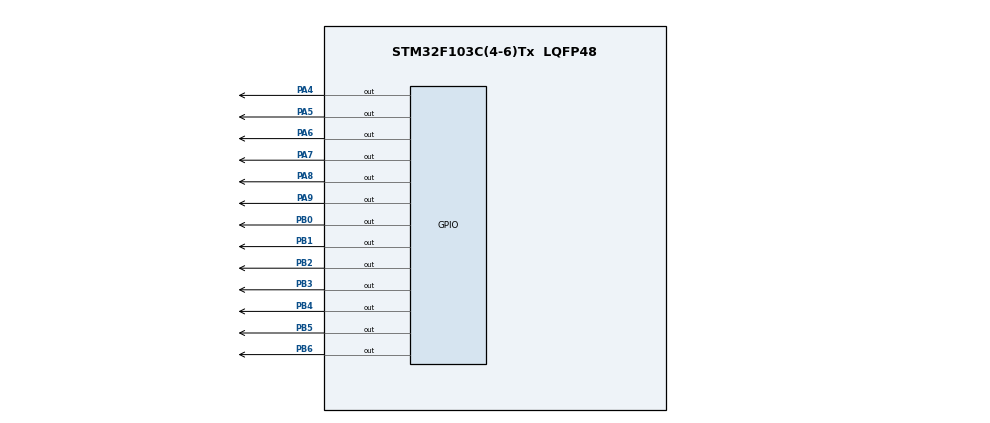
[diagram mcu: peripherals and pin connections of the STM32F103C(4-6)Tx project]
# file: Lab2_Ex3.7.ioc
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Mcu.Family=STM32F1
Mcu.Name=STM32F103C(4-6)Tx
Mcu.Package=LQFP48
NVIC.PriorityGroup=NVIC_PRIORITYGROUP_4
NVIC.TIM2_IRQn=true\:0\:0\:false\:false\:true\:true\:true
PA4.Signal=GPIO_Output
PA5.Signal=GPIO_Output
PA6.Signal=GPIO_Output
PA7.Signal=GPIO_Output
PA8.Signal=GPIO_Output
PA9.Signal=GPIO_Output
PB0.Signal=GPIO_Output
PB1.Signal=GPIO_Output
PB2.Signal=GPIO_Output
PB3.Signal=GPIO_Output
PB4.Signal=GPIO_Output
PB5.Signal=GPIO_Output
PB6.Signal=GPIO_Output
PD0-OSC_IN.Mode=HSE-External-Oscillator
PD0-OSC_IN.Signal=RCC_OSC_IN
PD1-OSC_OUT.Mode=HSE-External-Oscillator
PD1-OSC_OUT.Signal=RCC_OSC_OUT
ProjectManager.HeapSize=0x200
ProjectManager.StackSize=0x400
ProjectManager.TargetToolchain=STM32CubeIDE
RCC.APB1Freq_Value=8000000
RCC.APB2Freq_Value=8000000
TIM2.Period=9
TIM2.Prescaler=7999
VP_SYS_VS_ND.Mode=No_Debug
VP_TIM2_VS_ClockSourceINT.Mode=Internal
board=custom

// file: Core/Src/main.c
/* USER CODE BEGIN Header */
/**
  ******************************************************************************
  * @file           : main.c
  * @brief          : Main program body
  ******************************************************************************
  * @attention
  *
  * <h2><center>&copy; Copyright (c) 2021 STMicroelectronics.
  * All rights reserved.</center></h2>
  *
  * This software component is licensed by ST under BSD 3-Clause license,
  * the "License"; You may not use this file except in compliance with the
  * License. You may obtain a copy of the License at:
  *                        opensource.org/licenses/BSD-3-Clause
  *
  ******************************************************************************
  */
/* USER CODE END Header */
#include "main.h"

TIM_HandleTypeDef htim2;

void SystemClock_Config(void);
static void MX_GPIO_Init(void);
static void MX_TIM2_Init(void);

/* USER CODE BEGIN 0 */
uint8_t nums[10] = {0x01, 0x4F, 0x12, 0x06, 0x4C, 0x24, 0x20, 0x0F, 0x00, 0x04};

void display7SEG(uint8_t num) {
	HAL_GPIO_WritePin(GPIOB, GPIO_PIN_0, num & 0x40);
	HAL_GPIO_WritePin(GPIOB, GPIO_PIN_1, num & 0x20);
	HAL_GPIO_WritePin(GPIOB, GPIO_PIN_2, num & 0x10);
	HAL_GPIO_WritePin(GPIOB, GPIO_PIN_3, num & 0x08);
	HAL_GPIO_WritePin(GPIOB, GPIO_PIN_4, num & 0x04);
	HAL_GPIO_WritePin(GPIOB, GPIO_PIN_5, num & 0x02);
	HAL_GPIO_WritePin(GPIOB, GPIO_PIN_6, num & 0x01);
}

int led_buffer[4] = {0,0,0,0};
void updateClockBuffer()
{
	if(led_buffer[3] > 9){
		led_buffer[3] = 0;
		led_buffer[2]++;
	}
	if(led_buffer[2] > 5){
		led_buffer[2] = 0;
		led_buffer[1]++;
	}
	if(led_buffer[1] > 9){
		led_buffer[1] = 0;
		led_buffer[0]++;
	}
	if(led_buffer[0] > 3){
		led_buffer[0] = 0;
	}

	for(int i = 0; i < 400; i++){
		if(i == 0) {
			HAL_GPIO_WritePin(GPIOA, GPIO_PIN_5, GPIO_PIN_RESET);
			HAL_GPIO_WritePin(GPIOA, GPIO_PIN_6, GPIO_PIN_RESET);
			HAL_GPIO_WritePin(GPIOA, GPIO_PIN_7, GPIO_PIN_SET);
			HAL_GPIO_WritePin(GPIOA, GPIO_PIN_8, GPIO_PIN_SET);
			HAL_GPIO_WritePin(GPIOA, GPIO_PIN_9, GPIO_PIN_SET);
			display7SEG(nums[led_buffer[0]]);
			HAL_Delay(100);

		}
		else if(i == 100) {
			HAL_GPIO_WritePin(GPIOA, GPIO_PIN_5, GPIO_PIN_SET);
			HAL_GPIO_WritePin(GPIOA, GPIO_PIN_6, GPIO_PIN_SET);
			HAL_GPIO_WritePin(GPIOA, GPIO_PIN_7, GPIO_PIN_RESET);
			HAL_GPIO_WritePin(GPIOA, GPIO_PIN_8, GPIO_PIN_SET);
			HAL_GPIO_WritePin(GPIOA, GPIO_PIN_9, GPIO_PIN_SET);
			display7SEG(nums[led_buffer[1]]);
			HAL_Delay(100);
		}
		else if(i == 200) {
			HAL_GPIO_WritePin(GPIOA, GPIO_PIN_5, GPIO_PIN_RESET);
			HAL_GPIO_WritePin(GPIOA, GPIO_PIN_6, GPIO_PIN_SET);
			HAL_GPIO_WritePin(GPIOA, GPIO_PIN_7, GPIO_PIN_SET);
			HAL_GPIO_WritePin(GPIOA, GPIO_PIN_8, GPIO_PIN_RESET);
			HAL_GPIO_WritePin(GPIOA, GPIO_PIN_9, GPIO_PIN_SET);
			display7SEG(nums[led_buffer[2]]);
			HAL_Delay(100);
		}
		else if(i == 300) {
			HAL_GPIO_WritePin(GPIOA, GPIO_PIN_5, GPIO_PIN_SET);
			HAL_GPIO_WritePin(GPIOA, GPIO_PIN_6, GPIO_PIN_SET);
			HAL_GPIO_WritePin(GPIOA, GPIO_PIN_7, GPIO_PIN_SET);
			HAL_GPIO_WritePin(GPIOA, GPIO_PIN_8, GPIO_PIN_SET);
			HAL_GPIO_WritePin(GPIOA, GPIO_PIN_9, GPIO_PIN_RESET);
			display7SEG(nums[led_buffer[3]]);
			HAL_Delay(100);
		}
	}
	led_buffer[3]++;
}

int timer0_counter = 0;
int timer0_flag = 0;
int TIMER_CYCLE = 10;

void setTimer0(int duration) {
	timer0_counter = duration / TIMER_CYCLE ;
	timer0_flag = 0;
}
void timer_run() {
	if(timer0_counter > 0) {
		timer0_counter--;
		if( timer0_counter == 0) timer0_flag = 1;
	}
}
/* USER CODE END 0 */

int main(void)
{

  /* MCU Configuration--------------------------------------------------------*/

  /* Reset of all peripherals, Initializes the Flash interface and the Systick. */
  HAL_Init();

  /* Configure the system clock */
  SystemClock_Config();

  /* Initialize all configured peripherals */
  MX_GPIO_Init();
  MX_TIM2_Init();
  /* USER CODE BEGIN 2 */
  HAL_TIM_Base_Start_IT(&htim2);
  /* USER CODE END 2 */

  /* Infinite loop */
  /* USER CODE BEGIN WHILE */
  int hour = 0 , minute = 0 , second = -1;
  while (1)
  {
    second++;
    if (second >= 60) {
  	  second = 0;
  	  updateClockBuffer();
  	  minute++;
    }
    if( minute >= 60) {
  	  minute = 0;
  	  hour++;
    }
    if(hour >= 24) {
   		 hour = 0;
    }
    if(timer0_flag == 1) {
    	HAL_GPIO_TogglePin(GPIOA, GPIO_PIN_4);
    	setTimer0(2000);
    }
  }
}

void SystemClock_Config(void)
{
  RCC_OscInitTypeDef RCC_OscInitStruct = {0};
  RCC_ClkInitTypeDef RCC_ClkInitStruct = {0};

  /** Initializes the RCC Oscillators according to the specified parameters
  * in the RCC_OscInitTypeDef structure.
  */
  RCC_OscInitStruct.OscillatorType = RCC_OSCILLATORTYPE_HSI;
  RCC_OscInitStruct.HSIState = RCC_HSI_ON;
  RCC_OscInitStruct.HSICalibrationValue = RCC_HSICALIBRATION_DEFAULT;
  RCC_OscInitStruct.PLL.PLLState = RCC_PLL_NONE;
  if (HAL_RCC_OscConfig(&RCC_OscInitStruct) != HAL_OK)
  {
    Error_Handler();
  }
  /** Initializes the CPU, AHB and APB buses clocks
  */
  RCC_ClkInitStruct.ClockType = RCC_CLOCKTYPE_HCLK|RCC_CLOCKTYPE_SYSCLK
                              |RCC_CLOCKTYPE_PCLK1|RCC_CLOCKTYPE_PCLK2;
  RCC_ClkInitStruct.SYSCLKSource = RCC_SYSCLKSOURCE_HSI;
  RCC_ClkInitStruct.AHBCLKDivider = RCC_SYSCLK_DIV1;
  RCC_ClkInitStruct.APB1CLKDivider = RCC_HCLK_DIV1;
  RCC_ClkInitStruct.APB2CLKDivider = RCC_HCLK_DIV1;

  if (HAL_RCC_ClockConfig(&RCC_ClkInitStruct, FLASH_LATENCY_0) != HAL_OK)
  {
    Error_Handler();
  }
}

static void MX_TIM2_Init(void)
{

  TIM_ClockConfigTypeDef sClockSourceConfig = {0};
  TIM_MasterConfigTypeDef sMasterConfig = {0};

  htim2.Instance = TIM2;
  htim2.Init.Prescaler = 7999;
  htim2.Init.CounterMode = TIM_COUNTERMODE_UP;
  htim2.Init.Period = 9;
  htim2.Init.ClockDivision = TIM_CLOCKDIVISION_DIV1;
  htim2.Init.AutoReloadPreload = TIM_AUTORELOAD_PRELOAD_DISABLE;
  if (HAL_TIM_Base_Init(&htim2) != HAL_OK)
  {
    Error_Handler();
  }
  sClockSourceConfig.ClockSource = TIM_CLOCKSOURCE_INTERNAL;
  if (HAL_TIM_ConfigClockSource(&htim2, &sClockSourceConfig) != HAL_OK)
  {
    Error_Handler();
  }
  sMasterConfig.MasterOutputTrigger = TIM_TRGO_RESET;
  sMasterConfig.MasterSlaveMode = TIM_MASTERSLAVEMODE_DISABLE;
  if (HAL_TIMEx_MasterConfigSynchronization(&htim2, &sMasterConfig) != HAL_OK)
  {
    Error_Handler();
  }

}

static void MX_GPIO_Init(void)
{
  GPIO_InitTypeDef GPIO_InitStruct = {0};

  /* GPIO Ports Clock Enable */
  __HAL_RCC_GPIOD_CLK_ENABLE();
  __HAL_RCC_GPIOA_CLK_ENABLE();
  __HAL_RCC_GPIOB_CLK_ENABLE();

  /*Configure GPIO pin Output Level */
  HAL_GPIO_WritePin(GPIOA, GPIO_PIN_4|GPIO_PIN_5|GPIO_PIN_6|GPIO_PIN_7
                          |GPIO_PIN_8|GPIO_PIN_9, GPIO_PIN_RESET);

  /*Configure GPIO pin Output Level */
  HAL_GPIO_WritePin(GPIOB, GPIO_PIN_0|GPIO_PIN_1|GPIO_PIN_2|GPIO_PIN_3
                          |GPIO_PIN_4|GPIO_PIN_5|GPIO_PIN_6, GPIO_PIN_RESET);

  /*Configure GPIO pins : PA4 PA5 PA6 PA7
                           PA8 PA9 */
  GPIO_InitStruct.Pin = GPIO_PIN_4|GPIO_PIN_5|GPIO_PIN_6|GPIO_PIN_7
                          |GPIO_PIN_8|GPIO_PIN_9;
  GPIO_InitStruct.Mode = GPIO_MODE_OUTPUT_PP;
  GPIO_InitStruct.Pull = GPIO_NOPULL;
  GPIO_InitStruct.Speed = GPIO_SPEED_FREQ_LOW;
  HAL_GPIO_Init(GPIOA, &GPIO_InitStruct);

  /*Configure GPIO pins : PB0 PB1 PB2 PB3
                           PB4 PB5 PB6 */
  GPIO_InitStruct.Pin = GPIO_PIN_0|GPIO_PIN_1|GPIO_PIN_2|GPIO_PIN_3
                          |GPIO_PIN_4|GPIO_PIN_5|GPIO_PIN_6;
  GPIO_InitStruct.Mode = GPIO_MODE_OUTPUT_PP;
  GPIO_InitStruct.Pull = GPIO_NOPULL;
  GPIO_InitStruct.Speed = GPIO_SPEED_FREQ_LOW;
  HAL_GPIO_Init(GPIOB, &GPIO_InitStruct);

}

/* USER CODE BEGIN 4 */
void HAL_TIM_PeriodElapsedCallback(TIM_HandleTypeDef *htim)
{
	timer_run();
}
/* USER CODE END 4 */

void Error_Handler(void)
{
  __disable_irq();
  while (1)
  {
  }
}

/************************ (C) COPYRIGHT STMicroelectronics *****END OF FILE****/
